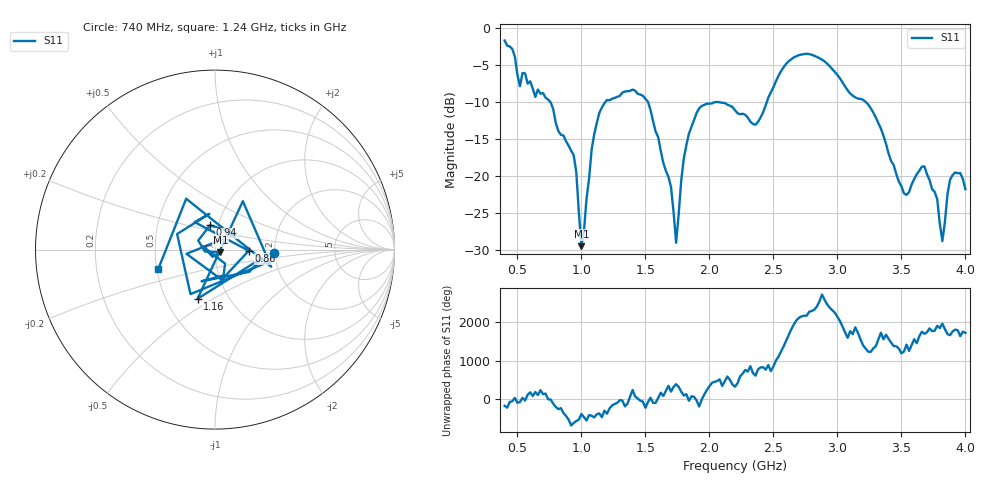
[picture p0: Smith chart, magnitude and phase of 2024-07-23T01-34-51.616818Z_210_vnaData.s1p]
!Created with skrf (http://scikit-rf.org).
# Hz S RI R 50.0
!freq ReS11 ImS11
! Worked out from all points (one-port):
!   181 points, 400 MHz to 4 GHz, reference 50 ohm
!   lowest |S11| = -29.5 dB at 1 GHz (marker M1), VSWR 1.07, Z = 53.1 - j1.57 ohm
!   |S11| at or under -10 dB: 759.5 MHz to 1.186 GHz (426.9 MHz wide, 43.9 % of centre); 1.521 GHz to 2.04 GHz (518.7 MHz wide, 29.1 % of centre); 3.223 GHz to end of sweep (the widest 3 of 4)
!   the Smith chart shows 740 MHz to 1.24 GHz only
!   S11 on the Smith chart (normalised r, x): 740 MHz: 1.98, -0.09; 860 MHz: 1.46, -0.02; 940 MHz: 0.91, +0.25; 1.16 GHz: 0.72, -0.43; 1.24 GHz: 0.51, -0.12
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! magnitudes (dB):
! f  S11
! 400 MHz  -1.6
! 520 MHz  -7.8
! 740 MHz  -9.6
! 860 MHz  -14.5
! 940 MHz  -17.2
! 1 GHz  -29.5
! 1.08 GHz  -16.4
! 1.16 GHz  -10.7
! 1.24 GHz  -9.5
! 1.3 GHz  -9.1
! 1.52 GHz  -9.9
! 1.7 GHz  -21.5
! 1.74 GHz  -29.0
! 1.76 GHz  -25.1
! 1.8 GHz  -17.6
! 1.9 GHz  -11.5
! 2.2 GHz  -11.1
! 2.36 GHz  -13.0
! 2.66 GHz  -3.9
! 2.88 GHz  -4.2
! 3.1 GHz  -8.8
! 3.28 GHz  -11.4
! 3.56 GHz  -22.2
! 3.68 GHz  -18.7
! 3.78 GHz  -23.1
! 3.82 GHz  -28.8
! 3.88 GHz  -20.5
! 4 GHz  -21.8
